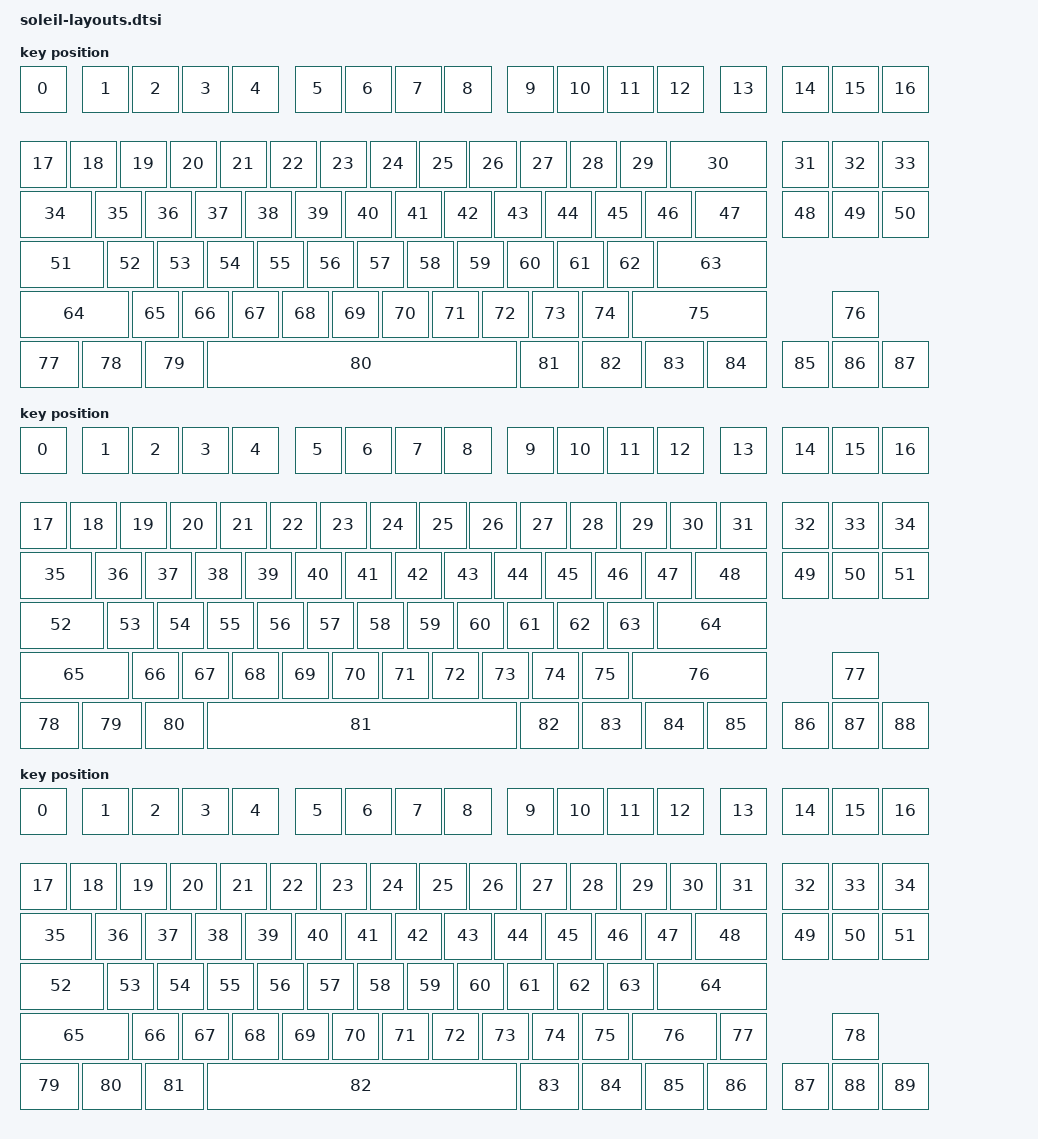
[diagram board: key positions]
#include <physical_layouts.dtsi>

/ {
    physical_layout0: physical_layout_0 {
        compatible = "zmk,physical-layout";
        display-name = "TKL ANSI";

        transform = <&ansi_default_transform>;

        keys  //                     w   h    x    y     rot    rx    ry
            = <&key_physical_attrs 100 100    0    0       0     0     0>
            , <&key_physical_attrs 100 100  125    0       0     0     0>
            , <&key_physical_attrs 100 100  225    0       0     0     0>
            , <&key_physical_attrs 100 100  325    0       0     0     0>
            , <&key_physical_attrs 100 100  425    0       0     0     0>
            , <&key_physical_attrs 100 100  550    0       0     0     0>
            , <&key_physical_attrs 100 100  650    0       0     0     0>
            , <&key_physical_attrs 100 100  750    0       0     0     0>
            , <&key_physical_attrs 100 100  850    0       0     0     0>
            , <&key_physical_attrs 100 100  975    0       0     0     0>
            , <&key_physical_attrs 100 100 1075    0       0     0     0>
            , <&key_physical_attrs 100 100 1175    0       0     0     0>
            , <&key_physical_attrs 100 100 1275    0       0     0     0>
            , <&key_physical_attrs 100 100 1400    0       0     0     0>
            , <&key_physical_attrs 100 100 1525    0       0     0     0>
            , <&key_physical_attrs 100 100 1625    0       0     0     0>
            , <&key_physical_attrs 100 100 1725    0       0     0     0>
            , <&key_physical_attrs 100 100    0  150       0     0     0>
            , <&key_physical_attrs 100 100  100  150       0     0     0>
            , <&key_physical_attrs 100 100  200  150       0     0     0>
            , <&key_physical_attrs 100 100  300  150       0     0     0>
            , <&key_physical_attrs 100 100  400  150       0     0     0>
            , <&key_physical_attrs 100 100  500  150       0     0     0>
            , <&key_physical_attrs 100 100  600  150       0     0     0>
            , <&key_physical_attrs 100 100  700  150       0     0     0>
            , <&key_physical_attrs 100 100  800  150       0     0     0>
            , <&key_physical_attrs 100 100  900  150       0     0     0>
            , <&key_physical_attrs 100 100 1000  150       0     0     0>
            , <&key_physical_attrs 100 100 1100  150       0     0     0>
            , <&key_physical_attrs 100 100 1200  150       0     0     0>
            , <&key_physical_attrs 200 100 1300  150       0     0     0>
            , <&key_physical_attrs 100 100 1525  150       0     0     0>
            , <&key_physical_attrs 100 100 1625  150       0     0     0>
            , <&key_physical_attrs 100 100 1725  150       0     0     0>
            , <&key_physical_attrs 150 100    0  250       0     0     0>
            , <&key_physical_attrs 100 100  150  250       0     0     0>
            , <&key_physical_attrs 100 100  250  250       0     0     0>
            , <&key_physical_attrs 100 100  350  250       0     0     0>
            , <&key_physical_attrs 100 100  450  250       0     0     0>
            , <&key_physical_attrs 100 100  550  250       0     0     0>
            , <&key_physical_attrs 100 100  650  250       0     0     0>
            , <&key_physical_attrs 100 100  750  250       0     0     0>
            , <&key_physical_attrs 100 100  850  250       0     0     0>
            , <&key_physical_attrs 100 100  950  250       0     0     0>
            , <&key_physical_attrs 100 100 1050  250       0     0     0>
            , <&key_physical_attrs 100 100 1150  250       0     0     0>
            , <&key_physical_attrs 100 100 1250  250       0     0     0>
            , <&key_physical_attrs 150 100 1350  250       0     0     0>
            , <&key_physical_attrs 100 100 1525  250       0     0     0>
            , <&key_physical_attrs 100 100 1625  250       0     0     0>
            , <&key_physical_attrs 100 100 1725  250       0     0     0>
            , <&key_physical_attrs 175 100    0  350       0     0     0>
            , <&key_physical_attrs 100 100  175  350       0     0     0>
            , <&key_physical_attrs 100 100  275  350       0     0     0>
            , <&key_physical_attrs 100 100  375  350       0     0     0>
            , <&key_physical_attrs 100 100  475  350       0     0     0>
            , <&key_physical_attrs 100 100  575  350       0     0     0>
            , <&key_physical_attrs 100 100  675  350       0     0     0>
            , <&key_physical_attrs 100 100  775  350       0     0     0>
            , <&key_physical_attrs 100 100  875  350       0     0     0>
            , <&key_physical_attrs 100 100  975  350       0     0     0>
            , <&key_physical_attrs 100 100 1075  350       0     0     0>
            , <&key_physical_attrs 100 100 1175  350       0     0     0>
            , <&key_physical_attrs 225 100 1275  350       0     0     0>
            , <&key_physical_attrs 225 100    0  450       0     0     0>
            , <&key_physical_attrs 100 100  225  450       0     0     0>
            , <&key_physical_attrs 100 100  325  450       0     0     0>
            , <&key_physical_attrs 100 100  425  450       0     0     0>
            , <&key_physical_attrs 100 100  525  450       0     0     0>
            , <&key_physical_attrs 100 100  625  450       0     0     0>
            , <&key_physical_attrs 100 100  725  450       0     0     0>
            , <&key_physical_attrs 100 100  825  450       0     0     0>
            , <&key_physical_attrs 100 100  925  450       0     0     0>
            , <&key_physical_attrs 100 100 1025  450       0     0     0>
            , <&key_physical_attrs 100 100 1125  450       0     0     0>
            , <&key_physical_attrs 275 100 1225  450       0     0     0>
            , <&key_physical_attrs 100 100 1625  450       0     0     0>
            , <&key_physical_attrs 125 100    0  550       0     0     0>
            , <&key_physical_attrs 125 100  125  550       0     0     0>
            , <&key_physical_attrs 125 100  250  550       0     0     0>
            , <&key_physical_attrs 625 100  375  550       0     0     0>
            , <&key_physical_attrs 125 100 1000  550       0     0     0>
            , <&key_physical_attrs 125 100 1125  550       0     0     0>
            , <&key_physical_attrs 125 100 1250  550       0     0     0>
            , <&key_physical_attrs 125 100 1375  550       0     0     0>
            , <&key_physical_attrs 100 100 1525  550       0     0     0>
            , <&key_physical_attrs 100 100 1625  550       0     0     0>
            , <&key_physical_attrs 100 100 1725  550       0     0     0>
            ;
    };

    physical_layout1: physical_layout_1 {
        compatible = "zmk,physical-layout";
        display-name = "TKL ANSI Split BS";

        transform = <&ansi_splitbs_transform>;

        keys  //                     w   h    x    y     rot    rx    ry
            = <&key_physical_attrs 100 100    0    0       0     0     0>
            , <&key_physical_attrs 100 100  125    0       0     0     0>
            , <&key_physical_attrs 100 100  225    0       0     0     0>
            , <&key_physical_attrs 100 100  325    0       0     0     0>
            , <&key_physical_attrs 100 100  425    0       0     0     0>
            , <&key_physical_attrs 100 100  550    0       0     0     0>
            , <&key_physical_attrs 100 100  650    0       0     0     0>
            , <&key_physical_attrs 100 100  750    0       0     0     0>
            , <&key_physical_attrs 100 100  850    0       0     0     0>
            , <&key_physical_attrs 100 100  975    0       0     0     0>
            , <&key_physical_attrs 100 100 1075    0       0     0     0>
            , <&key_physical_attrs 100 100 1175    0       0     0     0>
            , <&key_physical_attrs 100 100 1275    0       0     0     0>
            , <&key_physical_attrs 100 100 1400    0       0     0     0>
            , <&key_physical_attrs 100 100 1525    0       0     0     0>
            , <&key_physical_attrs 100 100 1625    0       0     0     0>
            , <&key_physical_attrs 100 100 1725    0       0     0     0>
            , <&key_physical_attrs 100 100    0  150       0     0     0>
            , <&key_physical_attrs 100 100  100  150       0     0     0>
            , <&key_physical_attrs 100 100  200  150       0     0     0>
            , <&key_physical_attrs 100 100  300  150       0     0     0>
            , <&key_physical_attrs 100 100  400  150       0     0     0>
            , <&key_physical_attrs 100 100  500  150       0     0     0>
            , <&key_physical_attrs 100 100  600  150       0     0     0>
            , <&key_physical_attrs 100 100  700  150       0     0     0>
            , <&key_physical_attrs 100 100  800  150       0     0     0>
            , <&key_physical_attrs 100 100  900  150       0     0     0>
            , <&key_physical_attrs 100 100 1000  150       0     0     0>
            , <&key_physical_attrs 100 100 1100  150       0     0     0>
            , <&key_physical_attrs 100 100 1200  150       0     0     0>
            , <&key_physical_attrs 100 100 1300  150       0     0     0>
            , <&key_physical_attrs 100 100 1400  150       0     0     0>
            , <&key_physical_attrs 100 100 1525  150       0     0     0>
            , <&key_physical_attrs 100 100 1625  150       0     0     0>
            , <&key_physical_attrs 100 100 1725  150       0     0     0>
            , <&key_physical_attrs 150 100    0  250       0     0     0>
            , <&key_physical_attrs 100 100  150  250       0     0     0>
            , <&key_physical_attrs 100 100  250  250       0     0     0>
            , <&key_physical_attrs 100 100  350  250       0     0     0>
            , <&key_physical_attrs 100 100  450  250       0     0     0>
            , <&key_physical_attrs 100 100  550  250       0     0     0>
            , <&key_physical_attrs 100 100  650  250       0     0     0>
            , <&key_physical_attrs 100 100  750  250       0     0     0>
            , <&key_physical_attrs 100 100  850  250       0     0     0>
            , <&key_physical_attrs 100 100  950  250       0     0     0>
            , <&key_physical_attrs 100 100 1050  250       0     0     0>
            , <&key_physical_attrs 100 100 1150  250       0     0     0>
            , <&key_physical_attrs 100 100 1250  250       0     0     0>
            , <&key_physical_attrs 150 100 1350  250       0     0     0>
            , <&key_physical_attrs 100 100 1525  250       0     0     0>
            , <&key_physical_attrs 100 100 1625  250       0     0     0>
            , <&key_physical_attrs 100 100 1725  250       0     0     0>
            , <&key_physical_attrs 175 100    0  350       0     0     0>
            , <&key_physical_attrs 100 100  175  350       0     0     0>
            , <&key_physical_attrs 100 100  275  350       0     0     0>
            , <&key_physical_attrs 100 100  375  350       0     0     0>
            , <&key_physical_attrs 100 100  475  350       0     0     0>
            , <&key_physical_attrs 100 100  575  350       0     0     0>
            , <&key_physical_attrs 100 100  675  350       0     0     0>
            , <&key_physical_attrs 100 100  775  350       0     0     0>
            , <&key_physical_attrs 100 100  875  350       0     0     0>
            , <&key_physical_attrs 100 100  975  350       0     0     0>
            , <&key_physical_attrs 100 100 1075  350       0     0     0>
            , <&key_physical_attrs 100 100 1175  350       0     0     0>
            , <&key_physical_attrs 225 100 1275  350       0     0     0>
            , <&key_physical_attrs 225 100    0  450       0     0     0>
            , <&key_physical_attrs 100 100  225  450       0     0     0>
            , <&key_physical_attrs 100 100  325  450       0     0     0>
            , <&key_physical_attrs 100 100  425  450       0     0     0>
            , <&key_physical_attrs 100 100  525  450       0     0     0>
            , <&key_physical_attrs 100 100  625  450       0     0     0>
            , <&key_physical_attrs 100 100  725  450       0     0     0>
            , <&key_physical_attrs 100 100  825  450       0     0     0>
            , <&key_physical_attrs 100 100  925  450       0     0     0>
            , <&key_physical_attrs 100 100 1025  450       0     0     0>
            , <&key_physical_attrs 100 100 1125  450       0     0     0>
            , <&key_physical_attrs 275 100 1225  450       0     0     0>
            , <&key_physical_attrs 100 100 1625  450       0     0     0>
            , <&key_physical_attrs 125 100    0  550       0     0     0>
            , <&key_physical_attrs 125 100  125  550       0     0     0>
            , <&key_physical_attrs 125 100  250  550       0     0     0>
            , <&key_physical_attrs 625 100  375  550       0     0     0>
            , <&key_physical_attrs 125 100 1000  550       0     0     0>
            , <&key_physical_attrs 125 100 1125  550       0     0     0>
            , <&key_physical_attrs 125 100 1250  550       0     0     0>
            , <&key_physical_attrs 125 100 1375  550       0     0     0>
            , <&key_physical_attrs 100 100 1525  550       0     0     0>
            , <&key_physical_attrs 100 100 1625  550       0     0     0>
            , <&key_physical_attrs 100 100 1725  550       0     0     0>
            ;
    };

    physical_layout2: physical_layout_2 {
        compatible = "zmk,physical-layout";
        display-name = "TKL ANSI Split BS Split RShift";

        transform = <&ansi_splitbs_splitrsh_transform>;

        keys  //                     w   h    x    y     rot    rx    ry
            = <&key_physical_attrs 100 100    0    0       0     0     0>
            , <&key_physical_attrs 100 100  125    0       0     0     0>
            , <&key_physical_attrs 100 100  225    0       0     0     0>
            , <&key_physical_attrs 100 100  325    0       0     0     0>
            , <&key_physical_attrs 100 100  425    0       0     0     0>
            , <&key_physical_attrs 100 100  550    0       0     0     0>
            , <&key_physical_attrs 100 100  650    0       0     0     0>
            , <&key_physical_attrs 100 100  750    0       0     0     0>
            , <&key_physical_attrs 100 100  850    0       0     0     0>
            , <&key_physical_attrs 100 100  975    0       0     0     0>
            , <&key_physical_attrs 100 100 1075    0       0     0     0>
            , <&key_physical_attrs 100 100 1175    0       0     0     0>
            , <&key_physical_attrs 100 100 1275    0       0     0     0>
            , <&key_physical_attrs 100 100 1400    0       0     0     0>
            , <&key_physical_attrs 100 100 1525    0       0     0     0>
            , <&key_physical_attrs 100 100 1625    0       0     0     0>
            , <&key_physical_attrs 100 100 1725    0       0     0     0>
            , <&key_physical_attrs 100 100    0  150       0     0     0>
            , <&key_physical_attrs 100 100  100  150       0     0     0>
            , <&key_physical_attrs 100 100  200  150       0     0     0>
            , <&key_physical_attrs 100 100  300  150       0     0     0>
            , <&key_physical_attrs 100 100  400  150       0     0     0>
            , <&key_physical_attrs 100 100  500  150       0     0     0>
            , <&key_physical_attrs 100 100  600  150       0     0     0>
            , <&key_physical_attrs 100 100  700  150       0     0     0>
            , <&key_physical_attrs 100 100  800  150       0     0     0>
            , <&key_physical_attrs 100 100  900  150       0     0     0>
            , <&key_physical_attrs 100 100 1000  150       0     0     0>
            , <&key_physical_attrs 100 100 1100  150       0     0     0>
            , <&key_physical_attrs 100 100 1200  150       0     0     0>
            , <&key_physical_attrs 100 100 1300  150       0     0     0>
            , <&key_physical_attrs 100 100 1400  150       0     0     0>
            , <&key_physical_attrs 100 100 1525  150       0     0     0>
            , <&key_physical_attrs 100 100 1625  150       0     0     0>
            , <&key_physical_attrs 100 100 1725  150       0     0     0>
            , <&key_physical_attrs 150 100    0  250       0     0     0>
            , <&key_physical_attrs 100 100  150  250       0     0     0>
            , <&key_physical_attrs 100 100  250  250       0     0     0>
            , <&key_physical_attrs 100 100  350  250       0     0     0>
            , <&key_physical_attrs 100 100  450  250       0     0     0>
            , <&key_physical_attrs 100 100  550  250       0     0     0>
            , <&key_physical_attrs 100 100  650  250       0     0     0>
            , <&key_physical_attrs 100 100  750  250       0     0     0>
            , <&key_physical_attrs 100 100  850  250       0     0     0>
            , <&key_physical_attrs 100 100  950  250       0     0     0>
            , <&key_physical_attrs 100 100 1050  250       0     0     0>
            , <&key_physical_attrs 100 100 1150  250       0     0     0>
            , <&key_physical_attrs 100 100 1250  250       0     0     0>
            , <&key_physical_attrs 150 100 1350  250       0     0     0>
            , <&key_physical_attrs 100 100 1525  250       0     0     0>
            , <&key_physical_attrs 100 100 1625  250       0     0     0>
            , <&key_physical_attrs 100 100 1725  250       0     0     0>
            , <&key_physical_attrs 175 100    0  350       0     0     0>
            , <&key_physical_attrs 100 100  175  350       0     0     0>
            , <&key_physical_attrs 100 100  275  350       0     0     0>
            , <&key_physical_attrs 100 100  375  350       0     0     0>
            , <&key_physical_attrs 100 100  475  350       0     0     0>
            , <&key_physical_attrs 100 100  575  350       0     0     0>
            , <&key_physical_attrs 100 100  675  350       0     0     0>
            , <&key_physical_attrs 100 100  775  350       0     0     0>
            , <&key_physical_attrs 100 100  875  350       0     0     0>
            , <&key_physical_attrs 100 100  975  350       0     0     0>
            , <&key_physical_attrs 100 100 1075  350       0     0     0>
            , <&key_physical_attrs 100 100 1175  350       0     0     0>
            , <&key_physical_attrs 225 100 1275  350       0     0     0>
            , <&key_physical_attrs 225 100    0  450       0     0     0>
            , <&key_physical_attrs 100 100  225  450       0     0     0>
            , <&key_physical_attrs 100 100  325  450       0     0     0>
            , <&key_physical_attrs 100 100  425  450       0     0     0>
            , <&key_physical_attrs 100 100  525  450       0     0     0>
            , <&key_physical_attrs 100 100  625  450       0     0     0>
            , <&key_physical_attrs 100 100  725  450       0     0     0>
            , <&key_physical_attrs 100 100  825  450       0     0     0>
            , <&key_physical_attrs 100 100  925  450       0     0     0>
            , <&key_physical_attrs 100 100 1025  450       0     0     0>
            , <&key_physical_attrs 100 100 1125  450       0     0     0>
            , <&key_physical_attrs 175 100 1225  450       0     0     0>
            , <&key_physical_attrs 100 100 1400  450       0     0     0>
            , <&key_physical_attrs 100 100 1625  450       0     0     0>
            , <&key_physical_attrs 125 100    0  550       0     0     0>
            , <&key_physical_attrs 125 100  125  550       0     0     0>
            , <&key_physical_attrs 125 100  250  550       0     0     0>
            , <&key_physical_attrs 625 100  375  550       0     0     0>
            , <&key_physical_attrs 125 100 1000  550       0     0     0>
            , <&key_physical_attrs 125 100 1125  550       0     0     0>
            , <&key_physical_attrs 125 100 1250  550       0     0     0>
            , <&key_physical_attrs 125 100 1375  550       0     0     0>
            , <&key_physical_attrs 100 100 1525  550       0     0     0>
            , <&key_physical_attrs 100 100 1625  550       0     0     0>
            , <&key_physical_attrs 100 100 1725  550       0     0     0>
            ;
    };

    physical_layout3: physical_layout_3 {
        compatible = "zmk,physical-layout";
        display-name = "TKL ANSI Split RShift";

        transform = <&ansi_splitrsh_transform>;

        keys  //                     w   h    x    y     rot    rx    ry
            = <&key_physical_attrs 100 100    0    0       0     0     0>
            , <&key_physical_attrs 100 100  125    0       0     0     0>
            , <&key_physical_attrs 100 100  225    0       0     0     0>
            , <&key_physical_attrs 100 100  325    0       0     0     0>
            , <&key_physical_attrs 100 100  425    0       0     0     0>
            , <&key_physical_attrs 100 100  550    0       0     0     0>
            , <&key_physical_attrs 100 100  650    0       0     0     0>
            , <&key_physical_attrs 100 100  750    0       0     0     0>
            , <&key_physical_attrs 100 100  850    0       0     0     0>
            , <&key_physical_attrs 100 100  975    0       0     0     0>
            , <&key_physical_attrs 100 100 1075    0       0     0     0>
            , <&key_physical_attrs 100 100 1175    0       0     0     0>
            , <&key_physical_attrs 100 100 1275    0       0     0     0>
            , <&key_physical_attrs 100 100 1400    0       0     0     0>
            , <&key_physical_attrs 100 100 1525    0       0     0     0>
            , <&key_physical_attrs 100 100 1625    0       0     0     0>
            , <&key_physical_attrs 100 100 1725    0       0     0     0>
            , <&key_physical_attrs 100 100    0  150       0     0     0>
            , <&key_physical_attrs 100 100  100  150       0     0     0>
            , <&key_physical_attrs 100 100  200  150       0     0     0>
            , <&key_physical_attrs 100 100  300  150       0     0     0>
            , <&key_physical_attrs 100 100  400  150       0     0     0>
            , <&key_physical_attrs 100 100  500  150       0     0     0>
            , <&key_physical_attrs 100 100  600  150       0     0     0>
            , <&key_physical_attrs 100 100  700  150       0     0     0>
            , <&key_physical_attrs 100 100  800  150       0     0     0>
            , <&key_physical_attrs 100 100  900  150       0     0     0>
            , <&key_physical_attrs 100 100 1000  150       0     0     0>
            , <&key_physical_attrs 100 100 1100  150       0     0     0>
            , <&key_physical_attrs 100 100 1200  150       0     0     0>
            , <&key_physical_attrs 200 100 1300  150       0     0     0>
            , <&key_physical_attrs 100 100 1525  150       0     0     0>
            , <&key_physical_attrs 100 100 1625  150       0     0     0>
            , <&key_physical_attrs 100 100 1725  150       0     0     0>
            , <&key_physical_attrs 150 100    0  250       0     0     0>
            , <&key_physical_attrs 100 100  150  250       0     0     0>
            , <&key_physical_attrs 100 100  250  250       0     0     0>
            , <&key_physical_attrs 100 100  350  250       0     0     0>
            , <&key_physical_attrs 100 100  450  250       0     0     0>
            , <&key_physical_attrs 100 100  550  250       0     0     0>
            , <&key_physical_attrs 100 100  650  250       0     0     0>
            , <&key_physical_attrs 100 100  750  250       0     0     0>
            , <&key_physical_attrs 100 100  850  250       0     0     0>
            , <&key_physical_attrs 100 100  950  250       0     0     0>
            , <&key_physical_attrs 100 100 1050  250       0     0     0>
            , <&key_physical_attrs 100 100 1150  250       0     0     0>
            , <&key_physical_attrs 100 100 1250  250       0     0     0>
            , <&key_physical_attrs 150 100 1350  250       0     0     0>
            , <&key_physical_attrs 100 100 1525  250       0     0     0>
            , <&key_physical_attrs 100 100 1625  250       0     0     0>
            , <&key_physical_attrs 100 100 1725  250       0     0     0>
            , <&key_physical_attrs 175 100    0  350       0     0     0>
            , <&key_physical_attrs 100 100  175  350       0     0     0>
            , <&key_physical_attrs 100 100  275  350       0     0     0>
            , <&key_physical_attrs 100 100  375  350       0     0     0>
            , <&key_physical_attrs 100 100  475  350       0     0     0>
            , <&key_physical_attrs 100 100  575  350       0     0     0>
            , <&key_physical_attrs 100 100  675  350       0     0     0>
            , <&key_physical_attrs 100 100  775  350       0     0     0>
            , <&key_physical_attrs 100 100  875  350       0     0     0>
            , <&key_physical_attrs 100 100  975  350       0     0     0>
            , <&key_physical_attrs 100 100 1075  350       0     0     0>
            , <&key_physical_attrs 100 100 1175  350       0     0     0>
            , <&key_physical_attrs 225 100 1275  350       0     0     0>
            , <&key_physical_attrs 225 100    0  450       0     0     0>
            , <&key_physical_attrs 100 100  225  450       0     0     0>
            , <&key_physical_attrs 100 100  325  450       0     0     0>
            , <&key_physical_attrs 100 100  425  450       0     0     0>
            , <&key_physical_attrs 100 100  525  450       0     0     0>
            , <&key_physical_attrs 100 100  625  450       0     0     0>
            , <&key_physical_attrs 100 100  725  450       0     0     0>
            , <&key_physical_attrs 100 100  825  450       0     0     0>
            , <&key_physical_attrs 100 100  925  450       0     0     0>
            , <&key_physical_attrs 100 100 1025  450       0     0     0>
            , <&key_physical_attrs 100 100 1125  450       0     0     0>
            , <&key_physical_attrs 175 100 1225  450       0     0     0>
            , <&key_physical_attrs 100 100 1400  450       0     0     0>
            , <&key_physical_attrs 100 100 1625  450       0     0     0>
            , <&key_physical_attrs 125 100    0  550       0     0     0>
            , <&key_physical_attrs 125 100  125  550       0     0     0>
            , <&key_physical_attrs 125 100  250  550       0     0     0>
            , <&key_physical_attrs 625 100  375  550       0     0     0>
            , <&key_physical_attrs 125 100 1000  550       0     0     0>
            , <&key_physical_attrs 125 100 1125  550       0     0     0>
            , <&key_physical_attrs 125 100 1250  550       0     0     0>
            , <&key_physical_attrs 125 100 1375  550       0     0     0>
            , <&key_physical_attrs 100 100 1525  550       0     0     0>
            , <&key_physical_attrs 100 100 1625  550       0     0     0>
            , <&key_physical_attrs 100 100 1725  550       0     0     0>
            ;
    };

    physical_layout4: physical_layout_4 {
        compatible = "zmk,physical-layout";
        display-name = "TKL 7U Split RShift";

        transform = <&tkl_7u_splitrsh_transform>;

        keys  //                     w   h    x    y     rot    rx    ry
            = <&key_physical_attrs 100 100    0    0       0     0     0>
            , <&key_physical_attrs 100 100  125    0       0     0     0>
            , <&key_physical_attrs 100 100  225    0       0     0     0>
            , <&key_physical_attrs 100 100  325    0       0     0     0>
            , <&key_physical_attrs 100 100  425    0       0     0     0>
            , <&key_physical_attrs 100 100  550    0       0     0     0>
            , <&key_physical_attrs 100 100  650    0       0     0     0>
            , <&key_physical_attrs 100 100  750    0       0     0     0>
            , <&key_physical_attrs 100 100  850    0       0     0     0>
            , <&key_physical_attrs 100 100  975    0       0     0     0>
            , <&key_physical_attrs 100 100 1075    0       0     0     0>
            , <&key_physical_attrs 100 100 1175    0       0     0     0>
            , <&key_physical_attrs 100 100 1275    0       0     0     0>
            , <&key_physical_attrs 100 100 1400    0       0     0     0>
            , <&key_physical_attrs 100 100 1525    0       0     0     0>
            , <&key_physical_attrs 100 100 1625    0       0     0     0>
            , <&key_physical_attrs 100 100 1725    0       0     0     0>
            , <&key_physical_attrs 100 100    0  150       0     0     0>
            , <&key_physical_attrs 100 100  100  150       0     0     0>
            , <&key_physical_attrs 100 100  200  150       0     0     0>
            , <&key_physical_attrs 100 100  300  150       0     0     0>
            , <&key_physical_attrs 100 100  400  150       0     0     0>
            , <&key_physical_attrs 100 100  500  150       0     0     0>
            , <&key_physical_attrs 100 100  600  150       0     0     0>
            , <&key_physical_attrs 100 100  700  150       0     0     0>
            , <&key_physical_attrs 100 100  800  150       0     0     0>
            , <&key_physical_attrs 100 100  900  150       0     0     0>
            , <&key_physical_attrs 100 100 1000  150       0     0     0>
            , <&key_physical_attrs 100 100 1100  150       0     0     0>
            , <&key_physical_attrs 100 100 1200  150       0     0     0>
            , <&key_physical_attrs 200 100 1300  150       0     0     0>
            , <&key_physical_attrs 100 100 1525  150       0     0     0>
            , <&key_physical_attrs 100 100 1625  150       0     0     0>
            , <&key_physical_attrs 100 100 1725  150       0     0     0>
            , <&key_physical_attrs 150 100    0  250       0     0     0>
            , <&key_physical_attrs 100 100  150  250       0     0     0>
            , <&key_physical_attrs 100 100  250  250       0     0     0>
            , <&key_physical_attrs 100 100  350  250       0     0     0>
            , <&key_physical_attrs 100 100  450  250       0     0     0>
            , <&key_physical_attrs 100 100  550  250       0     0     0>
            , <&key_physical_attrs 100 100  650  250       0     0     0>
            , <&key_physical_attrs 100 100  750  250       0     0     0>
            , <&key_physical_attrs 100 100  850  250       0     0     0>
            , <&key_physical_attrs 100 100  950  250       0     0     0>
            , <&key_physical_attrs 100 100 1050  250       0     0     0>
            , <&key_physical_attrs 100 100 1150  250       0     0     0>
            , <&key_physical_attrs 100 100 1250  250       0     0     0>
            , <&key_physical_attrs 150 100 1350  250       0     0     0>
            , <&key_physical_attrs 100 100 1525  250       0     0     0>
            , <&key_physical_attrs 100 100 1625  250       0     0     0>
            , <&key_physical_attrs 100 100 1725  250       0     0     0>
            , <&key_physical_attrs 175 100    0  350       0     0     0>
            , <&key_physical_attrs 100 100  175  350       0     0     0>
            , <&key_physical_attrs 100 100  275  350       0     0     0>
            , <&key_physical_attrs 100 100  375  350       0     0     0>
            , <&key_physical_attrs 100 100  475  350       0     0     0>
            , <&key_physical_attrs 100 100  575  350       0     0     0>
            , <&key_physical_attrs 100 100  675  350       0     0     0>
            , <&key_physical_attrs 100 100  775  350       0     0     0>
            , <&key_physical_attrs 100 100  875  350       0     0     0>
            , <&key_physical_attrs 100 100  975  350       0     0     0>
            , <&key_physical_attrs 100 100 1075  350       0     0     0>
            , <&key_physical_attrs 100 100 1175  350       0     0     0>
            , <&key_physical_attrs 225 100 1275  350       0     0     0>
            , <&key_physical_attrs 225 100    0  450       0     0     0>
            , <&key_physical_attrs 100 100  225  450       0     0     0>
            , <&key_physical_attrs 100 100  325  450       0     0     0>
            , <&key_physical_attrs 100 100  425  450       0     0     0>
            , <&key_physical_attrs 100 100  525  450       0     0     0>
            , <&key_physical_attrs 100 100  625  450       0     0     0>
            , <&key_physical_attrs 100 100  725  450       0     0     0>
            , <&key_physical_attrs 100 100  825  450       0     0     0>
            , <&key_physical_attrs 100 100  925  450       0     0     0>
            , <&key_physical_attrs 100 100 1025  450       0     0     0>
            , <&key_physical_attrs 100 100 1125  450       0     0     0>
            , <&key_physical_attrs 175 100 1225  450       0     0     0>
            , <&key_physical_attrs 100 100 1400  450       0     0     0>
            , <&key_physical_attrs 100 100 1625  450       0     0     0>
            , <&key_physical_attrs 150 100    0  550       0     0     0>
            , <&key_physical_attrs 100 100  150  550       0     0     0>
            , <&key_physical_attrs 150 100  250  550       0     0     0>
            , <&key_physical_attrs 700 100  400  550       0     0     0>
            , <&key_physical_attrs 150 100 1100  550       0     0     0>
            , <&key_physical_attrs 100 100 1250  550       0     0     0>
            , <&key_physical_attrs 150 100 1350  550       0     0     0>
            , <&key_physical_attrs 100 100 1525  550       0     0     0>
            , <&key_physical_attrs 100 100 1625  550       0     0     0>
            , <&key_physical_attrs 100 100 1725  550       0     0     0>
            ;
    };

    physical_layout5: physical_layout_5 {
        compatible = "zmk,physical-layout";
        display-name = "TKL 7U Split BS Split RShift";

        transform = <&tkl_7u_splitbs_splitrsh_transform>;

        keys  //                     w   h    x    y     rot    rx    ry
            = <&key_physical_attrs 100 100    0    0       0     0     0>
            , <&key_physical_attrs 100 100  125    0       0     0     0>
            , <&key_physical_attrs 100 100  225    0       0     0     0>
            , <&key_physical_attrs 100 100  325    0       0     0     0>
            , <&key_physical_attrs 100 100  425    0       0     0     0>
            , <&key_physical_attrs 100 100  550    0       0     0     0>
            , <&key_physical_attrs 100 100  650    0       0     0     0>
            , <&key_physical_attrs 100 100  750    0       0     0     0>
            , <&key_physical_attrs 100 100  850    0       0     0     0>
            , <&key_physical_attrs 100 100  975    0       0     0     0>
            , <&key_physical_attrs 100 100 1075    0       0     0     0>
            , <&key_physical_attrs 100 100 1175    0       0     0     0>
            , <&key_physical_attrs 100 100 1275    0       0     0     0>
            , <&key_physical_attrs 100 100 1400    0       0     0     0>
            , <&key_physical_attrs 100 100 1525    0       0     0     0>
            , <&key_physical_attrs 100 100 1625    0       0     0     0>
            , <&key_physical_attrs 100 100 1725    0       0     0     0>
            , <&key_physical_attrs 100 100    0  150       0     0     0>
            , <&key_physical_attrs 100 100  100  150       0     0     0>
            , <&key_physical_attrs 100 100  200  150       0     0     0>
            , <&key_physical_attrs 100 100  300  150       0     0     0>
            , <&key_physical_attrs 100 100  400  150       0     0     0>
            , <&key_physical_attrs 100 100  500  150       0     0     0>
            , <&key_physical_attrs 100 100  600  150       0     0     0>
            , <&key_physical_attrs 100 100  700  150       0     0     0>
            , <&key_physical_attrs 100 100  800  150       0     0     0>
            , <&key_physical_attrs 100 100  900  150       0     0     0>
            , <&key_physical_attrs 100 100 1000  150       0     0     0>
            , <&key_physical_attrs 100 100 1100  150       0     0     0>
            , <&key_physical_attrs 100 100 1200  150       0     0     0>
            , <&key_physical_attrs 100 100 1300  150       0     0     0>
            , <&key_physical_attrs 100 100 1400  150       0     0     0>
            , <&key_physical_attrs 100 100 1525  150       0     0     0>
            , <&key_physical_attrs 100 100 1625  150       0     0     0>
            , <&key_physical_attrs 100 100 1725  150       0     0     0>
            , <&key_physical_attrs 150 100    0  250       0     0     0>
            , <&key_physical_attrs 100 100  150  250       0     0     0>
            , <&key_physical_attrs 100 100  250  250       0     0     0>
            , <&key_physical_attrs 100 100  350  250       0     0     0>
            , <&key_physical_attrs 100 100  450  250       0     0     0>
            , <&key_physical_attrs 100 100  550  250       0     0     0>
            , <&key_physical_attrs 100 100  650  250       0     0     0>
            , <&key_physical_attrs 100 100  750  250       0     0     0>
            , <&key_physical_attrs 100 100  850  250       0     0     0>
            , <&key_physical_attrs 100 100  950  250       0     0     0>
            , <&key_physical_attrs 100 100 1050  250       0     0     0>
            , <&key_physical_attrs 100 100 1150  250       0     0     0>
            , <&key_physical_attrs 100 100 1250  250       0     0     0>
            , <&key_physical_attrs 150 100 1350  250       0     0     0>
            , <&key_physical_attrs 100 100 1525  250       0     0     0>
            , <&key_physical_attrs 100 100 1625  250       0     0     0>
            , <&key_physical_attrs 100 100 1725  250       0     0     0>
            , <&key_physical_attrs 175 100    0  350       0     0     0>
            , <&key_physical_attrs 100 100  175  350       0     0     0>
            , <&key_physical_attrs 100 100  275  350       0     0     0>
            , <&key_physical_attrs 100 100  375  350       0     0     0>
            , <&key_physical_attrs 100 100  475  350       0     0     0>
            , <&key_physical_attrs 100 100  575  350       0     0     0>
            , <&key_physical_attrs 100 100  675  350       0     0     0>
            , <&key_physical_attrs 100 100  775  350       0     0     0>
            , <&key_physical_attrs 100 100  875  350       0     0     0>
            , <&key_physical_attrs 100 100  975  350       0     0     0>
            , <&key_physical_attrs 100 100 1075  350       0     0     0>
            , <&key_physical_attrs 100 100 1175  350       0     0     0>
            , <&key_physical_attrs 225 100 1275  350       0     0     0>
            , <&key_physical_attrs 225 100    0  450       0     0     0>
            , <&key_physical_attrs 100 100  225  450       0     0     0>
            , <&key_physical_attrs 100 100  325  450       0     0     0>
            , <&key_physical_attrs 100 100  425  450       0     0     0>
            , <&key_physical_attrs 100 100  525  450       0     0     0>
            , <&key_physical_attrs 100 100  625  450       0     0     0>
            , <&key_physical_attrs 100 100  725  450       0     0     0>
            , <&key_physical_attrs 100 100  825  450       0     0     0>
            , <&key_physical_attrs 100 100  925  450       0     0     0>
            , <&key_physical_attrs 100 100 1025  450       0     0     0>
            , <&key_physical_attrs 100 100 1125  450       0     0     0>
            , <&key_physical_attrs 175 100 1225  450       0     0     0>
            , <&key_physical_attrs 100 100 1400  450       0     0     0>
            , <&key_physical_attrs 100 100 1625  450       0     0     0>
            , <&key_physical_attrs 150 100    0  550       0     0     0>
            , <&key_physical_attrs 100 100  150  550       0     0     0>
            , <&key_physical_attrs 150 100  250  550       0     0     0>
            , <&key_physical_attrs 700 100  400  550       0     0     0>
            , <&key_physical_attrs 150 100 1100  550       0     0     0>
            , <&key_physical_attrs 100 100 1250  550       0     0     0>
            , <&key_physical_attrs 150 100 1350  550       0     0     0>
            , <&key_physical_attrs 100 100 1525  550       0     0     0>
            , <&key_physical_attrs 100 100 1625  550       0     0     0>
            , <&key_physical_attrs 100 100 1725  550       0     0     0>
            ;
    };

    position_map {
        compatible = "zmk,physical-layout-position-map";

        physical_layout0 {
            physical-layout = <&physical_layout0>;
            positions = <30 88 89 75 83 81 82 84 77 78 79 80>;
        };

        physical_layout1 {
            physical-layout = <&physical_layout1>;
            positions = <30 31 89 76 84 82 83 85 78 79 80 81>;
        };

        physical_layout2 {
            physical-layout = <&physical_layout2>;
            positions = <30 31 77 76 85 83 84 86 79 80 81 82>;
        };

        physical_layout3 {
            physical-layout = <&physical_layout3>;
            positions = <30 89 76 75 84 82 83 85 78 79 80 81>;
        };

        physical_layout4 {
            physical-layout = <&physical_layout4>;
            positions = <30 88 76 75 89 82 83 84 78 79 80 81>;
        };

        physical_layout5 {
            physical-layout = <&physical_layout5>;
            positions = <30 31 77 76 89 83 84 85 79 80 81 82>;
        };
    };
};
